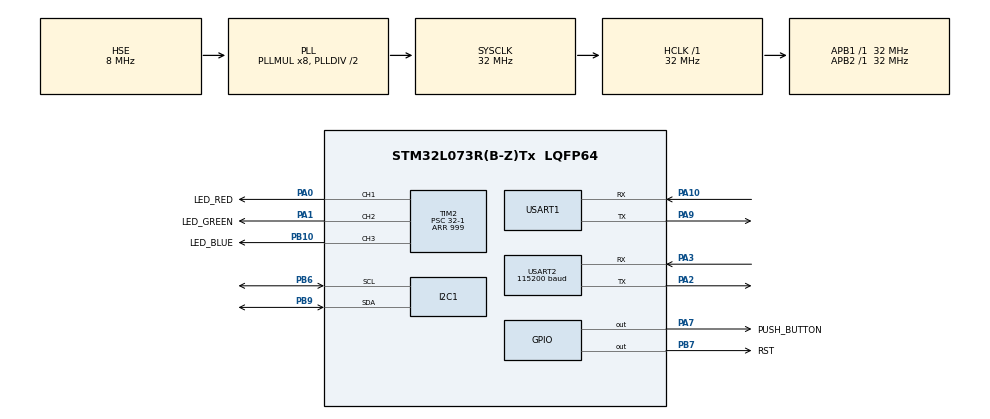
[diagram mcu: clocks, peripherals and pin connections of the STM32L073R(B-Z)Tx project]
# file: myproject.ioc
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I2C1.Timing=0x00B07CB4
Mcu.Family=STM32L0
Mcu.Name=STM32L073R(B-Z)Tx
Mcu.Package=LQFP64
NVIC.USART1_IRQn=true\:0\:0\:false\:false\:true\:true\:true\:true
PA0.GPIO_Label=LED_RED
PA0.Signal=S_TIM2_CH1
PA1.GPIO_Label=LED_GREEN
PA1.Signal=S_TIM2_CH2
PA10.Mode=Asynchronous
PA10.Signal=USART1_RX
PA13.Mode=Serial_Wire
PA13.Signal=SYS_SWDIO
PA14.Mode=Serial_Wire
PA14.Signal=SYS_SWCLK
PA2.Mode=Asynchronous
PA2.Signal=USART2_TX
PA3.Mode=Asynchronous
PA3.Signal=USART2_RX
PA7.GPIO_Label=PUSH_BUTTON
PA7.Signal=GPIO_Output
PA9.Mode=Asynchronous
PA9.Signal=USART1_TX
PB10.GPIO_Label=LED_BLUE
PB10.Signal=S_TIM2_CH3
PB6.Mode=I2C
PB6.Signal=I2C1_SCL
PB7.GPIO_Label=RST
PB7.Signal=GPIO_Output
PB9.Mode=I2C
PB9.Signal=I2C1_SDA
PH0-OSC_IN.Mode=HSE-External-Clock-Source
PH0-OSC_IN.Signal=RCC_OSC_IN
ProjectManager.HeapSize=0x200
ProjectManager.StackSize=0x400
ProjectManager.TargetToolchain=STM32CubeIDE
RCC.AHBFreq_Value=32000000
RCC.APB1Freq_Value=32000000
RCC.APB1TimFreq_Value=32000000
RCC.APB2Freq_Value=32000000
RCC.APB2TimFreq_Value=32000000
RCC.HCLKFreq_Value=32000000
RCC.HSE_VALUE=8000000
RCC.HSI16_VALUE=16000000
RCC.HSI48_VALUE=48000000
RCC.HSI_VALUE=16000000
RCC.LSE_VALUE=32768
RCC.MSI_VALUE=2097000
RCC.PLLMUL=RCC_PLLMUL_8
RCC.PLLSourceVirtual=RCC_PLLSOURCE_HSE
RCC.SYSCLKFreq_VALUE=32000000
RCC.SYSCLKSource=RCC_SYSCLKSOURCE_PLLCLK
RCC.VCOOutputFreq_Value=64000000
SH.S_TIM2_CH1.0=TIM2_CH1,PWM Generation1 CH1
SH.S_TIM2_CH2.0=TIM2_CH2,PWM Generation2 CH2
SH.S_TIM2_CH3.0=TIM2_CH3,PWM Generation3 CH3
TIM2.Channel-PWM\ Generation1\ CH1=TIM_CHANNEL_1
TIM2.Channel-PWM\ Generation2\ CH2=TIM_CHANNEL_2
TIM2.Channel-PWM\ Generation3\ CH3=TIM_CHANNEL_3
TIM2.Period=999
TIM2.Prescaler=32-1
TIM6.Period=65535-1
TIM6.Prescaler=32-1
USART1.VirtualMode-Asynchronous=VM_ASYNC
USART2.BaudRate=115200
USART2.VirtualMode-Asynchronous=VM_ASYNC
VP_TIM6_VS_ClockSourceINT.Mode=Enable_Timer
board=NUCLEO-L073RZ

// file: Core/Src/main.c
/* USER CODE BEGIN Header */
/**
  ******************************************************************************
  * @file           : main.c
  * @brief          : Main program body
  ******************************************************************************
  * @attention
  *
  * Copyright (c) 2026 STMicroelectronics.
  * All rights reserved.
  *
  * This software is licensed under terms that can be found in the LICENSE file
  * in the root directory of this software component.
  * If no LICENSE file comes with this software, it is provided AS-IS.
  *
  ******************************************************************************
  */
/* USER CODE END Header */
#include "main.h"
#include "i2c.h"
#include "tim.h"
#include "usart.h"
#include "gpio.h"

/* USER CODE BEGIN Includes */
#include <stdio.h>
#include "drivers/hw479.h"
#include "drivers/ds3231.h"
#include "drivers/ds18b20.h"
#include "drivers/lcd1602.h"
#include <stdbool.h>
#include <math.h>
#include <stdlib.h>
#include <string.h>
#include "utils.h"
/* USER CODE END Includes */

/* USER CODE BEGIN PD */
#define LCD_BACKLIGHT 0x08
#define UART_RX_LOG_SIZE 128U
#define UART_CMD_LINE_SIZE 64U
/* USER CODE END PD */

/* USER CODE BEGIN PV */
static uint8_t rx_byte;
static uint8_t rx_log[UART_RX_LOG_SIZE];
static char uart_cmd_line[UART_CMD_LINE_SIZE];
static uint16_t uart_cmd_pos = 0;
static volatile uint16_t rx_log_head = 0;
static volatile uint16_t rx_log_tail = 0;
static volatile uint32_t rx_byte_count = 0;
static volatile uint32_t rx_error_count = 0;
static volatile uint32_t rx_overflow_count = 0;
static int16_t min_temp = 100; // 18.0°C
static int16_t max_temp = 270; // 26.0°C

static lcd1602_t lcd =
{
    .i2c = &hi2c1,
    .addr = 0x27 << 1,
};

static hw479_t hw479 =
{
	.htim = &htim2,
	.red_ch = TIM_CHANNEL_1,
	.green_ch = TIM_CHANNEL_2,
	.blue_ch = TIM_CHANNEL_3,
};

static ds3231_t ds3231 =
{
	.i2c = &hi2c1,
	.addr = 0xd0,
};

//static ds18b20_t ds18b20 =
//{
//	.htim = &htim6,
//	.pin = DS18B20_Pin,
//	.port = DS18B20_GPIO_Port,
//};
/* USER CODE END PV */

void SystemClock_Config(void);
/* USER CODE BEGIN PFP */
static void log_uart_rx_byte(uint8_t byte);
static void process_uart_rx(void);
static void process_uart_rx_byte(uint8_t byte);
static void process_uart_command(const char *line);
static bool parse_temp_command(const char *line, const char *command, int16_t *temp);
/* USER CODE END PFP */

/* USER CODE BEGIN 0 */
static inline uint32_t TempToPWM(float x)
{
    const float slope = 10.0f;   // sensitivity (tune this)
    const uint32_t N = 0;
    const uint32_t M = 900;

    int32_t v = (int32_t)(x * slope) + N;

    if (v < (int32_t)N) v = N;
    if (v > (int32_t)M) v = M;

    return (uint32_t)v;
}

static void log_uart_rx_byte(uint8_t byte)
{
	uint16_t next_head = (uint16_t)(rx_log_head + 1U);

	if (next_head >= UART_RX_LOG_SIZE)
	{
		next_head = 0U;
	}

	if (next_head == rx_log_tail)
	{
		rx_overflow_count++;
		return;
	}

	rx_log[rx_log_head] = byte;
	rx_log_head = next_head;
}

static void process_uart_rx(void)
{
	static uint32_t printed_error_count = 0;
	static uint32_t printed_overflow_count = 0;

	while (rx_log_tail != rx_log_head)
	{
		uint8_t byte = rx_log[rx_log_tail];

		rx_log_tail = (uint16_t)(rx_log_tail + 1U);
		if (rx_log_tail >= UART_RX_LOG_SIZE)
		{
			rx_log_tail = 0U;
		}

		process_uart_rx_byte(byte);
	}

	if (printed_error_count != rx_error_count)
	{
		printed_error_count = rx_error_count;
		printf("[USART1] RX errors: %lu\r\n", rx_error_count);
	}

	if (printed_overflow_count != rx_overflow_count)
	{
		printed_overflow_count = rx_overflow_count;
		printf("[USART1] RX log overflows: %lu\r\n", rx_overflow_count);
	}
}

static void process_uart_rx_byte(uint8_t byte)
{
	if (byte == '\r' || byte == '\n')
	{
		if (uart_cmd_pos > 0U)
		{
			uart_cmd_line[uart_cmd_pos] = '\0';
			process_uart_command(uart_cmd_line);
			uart_cmd_pos = 0U;
		}

		return;
	}

	if (uart_cmd_pos < (UART_CMD_LINE_SIZE - 1U))
	{
		uart_cmd_line[uart_cmd_pos++] = (char)byte;
	}
	else
	{
		uart_cmd_pos = 0U;
		printf("[USART1] Command too long, dropping buffer\r\n");
	}
}

static void process_uart_command(const char *line)
{
	int16_t temp;

	printf("[USART1] Command: %s\r\n", line);

	if (parse_temp_command(line, "SET_MAX_TEMP", &temp))
	{
		max_temp = temp;
		printf("[USART1] SET_MAX_TEMP = %d (%d.%d C)\r\n",
				temp,
				temp / 10,
				abs(temp % 10));
	}
	else if (parse_temp_command(line, "SET_MIN_TEMP", &temp))
	{
		min_temp = temp;
		printf("[USART1] SET_MIN_TEMP = %d (%d.%d C)\r\n",
				temp,
				temp / 10,
				abs(temp % 10));
	}
	else
	{
		printf("[USART1] Unknown command\r\n");
	}
}

static bool parse_temp_command(const char *line, const char *command, int16_t *temp)
{
	const char *p = line;
	size_t command_len = strlen(command);
	uint32_t value = 0U;
	bool has_digit = false;

	while (*p == ' ' || *p == '\t')
	{
		p++;
	}

	if (strncmp(p, command, command_len) != 0)
	{
		return false;
	}

	p += command_len;

	if (*p != ' ' && *p != '\t')
	{
		return false;
	}

	while (*p == ' ' || *p == '\t')
	{
		p++;
	}

	while (*p >= '0' && *p <= '9')
	{
		has_digit = true;
		value = (value * 10U) + (uint32_t)(*p - '0');

		if (value > INT16_MAX)
		{
			return false;
		}

		p++;
	}

	while (*p == ' ' || *p == '\t')
	{
		p++;
	}

	if (!has_digit || *p != '\0')
	{
		return false;
	}

	*temp = (int16_t)value;
	return true;
}

void update(lcd1602_t *lcd, hw479_t *hw479, ds3231_t *ds3231) {
	ds3231_time_t t = ds3231_get_time(ds3231);
	lcd_1602_clear(lcd);

	lcd_1602_cur(lcd, 0, 0);
	lcd_1602_printf(lcd, "%02d:%02d %02d/%02d/20%02d", t.hour, t.minutes, t.dayofmonth, t.month, t.year);

	ds3231_force_temp_conv(ds3231);

	lcd_1602_cur (lcd, 1, 0);
	float temp = ds3231_get_temp(ds3231);
	int whole = (int)temp;
	int frac = (int)((temp - whole) * 10);
	lcd_1602_printf(lcd, "%d.%d C", whole, frac);

	int16_t tempInt = tempToFixed(temp);

	uint32_t v = TempToPWM(fabs(temp));

//	printf("Temperature = %d.%d C\r\n", whole, frac);
//	printf("Time = %02d:%02d %02d/%02d/20%02d\r\n", t.hour, t.minutes, t.dayofmonth, t.month, t.year);

	if (tempInt >= max_temp) {
		hw479_set_colors(hw479, 999, 0, 0);
	} else if (tempInt <= min_temp) {
		hw479_set_colors(hw479, 0, 0, 999);
	} else  {
		hw479_set_colors(hw479, 0, 0, 0);
	}
}
/* USER CODE END 0 */

int main(void)
{

  /* MCU Configuration--------------------------------------------------------*/

  /* Reset of all peripherals, Initializes the Flash interface and the Systick. */
  HAL_Init();

  /* Configure the system clock */
  SystemClock_Config();

  /* Initialize all configured peripherals */
  MX_GPIO_Init();
  MX_I2C1_Init();
  MX_TIM2_Init();
  MX_TIM6_Init();
  MX_USART1_UART_Init();
  MX_USART2_UART_Init();
  /* USER CODE BEGIN 2 */

  if (HAL_UART_Receive_IT(&huart1, &rx_byte, 1) != HAL_OK)
  {
      printf("USART1 RX IT start failed\r\n");
      Error_Handler();
  }
  else
  {
      printf("USART1 RX IT started\r\n");
  }

  lcd_1602_init(&lcd);
  lcd_1602_backlight_on(&lcd);
  lcd_1602_print(&lcd, "Initializing");

  hw479_init(&hw479);
//  ds18b20_init(&ds18b20);

  /* USER CODE END 2 */

  /* Infinite loop */
  /* USER CODE BEGIN WHILE */

  HAL_Delay(1000);

  printf("-------------------------\r\n");

  while (1)
  {
	process_uart_rx();
    update(&lcd, &hw479, &ds3231);
	process_uart_rx();
	HAL_Delay(750);
	process_uart_rx();

    /* USER CODE END WHILE */

  }
}

void SystemClock_Config(void)
{
  RCC_OscInitTypeDef RCC_OscInitStruct = {0};
  RCC_ClkInitTypeDef RCC_ClkInitStruct = {0};
  RCC_PeriphCLKInitTypeDef PeriphClkInit = {0};

  /** Configure the main internal regulator output voltage
  */
  __HAL_PWR_VOLTAGESCALING_CONFIG(PWR_REGULATOR_VOLTAGE_SCALE1);

  /** Initializes the RCC Oscillators according to the specified parameters
  * in the RCC_OscInitTypeDef structure.
  */
  RCC_OscInitStruct.OscillatorType = RCC_OSCILLATORTYPE_HSE;
  RCC_OscInitStruct.HSEState = RCC_HSE_BYPASS;
  RCC_OscInitStruct.PLL.PLLState = RCC_PLL_ON;
  RCC_OscInitStruct.PLL.PLLSource = RCC_PLLSOURCE_HSE;
  RCC_OscInitStruct.PLL.PLLMUL = RCC_PLLMUL_8;
  RCC_OscInitStruct.PLL.PLLDIV = RCC_PLLDIV_2;
  if (HAL_RCC_OscConfig(&RCC_OscInitStruct) != HAL_OK)
  {
    Error_Handler();
  }

  /** Initializes the CPU, AHB and APB buses clocks
  */
  RCC_ClkInitStruct.ClockType = RCC_CLOCKTYPE_HCLK|RCC_CLOCKTYPE_SYSCLK
                              |RCC_CLOCKTYPE_PCLK1|RCC_CLOCKTYPE_PCLK2;
  RCC_ClkInitStruct.SYSCLKSource = RCC_SYSCLKSOURCE_PLLCLK;
  RCC_ClkInitStruct.AHBCLKDivider = RCC_SYSCLK_DIV1;
  RCC_ClkInitStruct.APB1CLKDivider = RCC_HCLK_DIV1;
  RCC_ClkInitStruct.APB2CLKDivider = RCC_HCLK_DIV1;

  if (HAL_RCC_ClockConfig(&RCC_ClkInitStruct, FLASH_LATENCY_1) != HAL_OK)
  {
    Error_Handler();
  }
  PeriphClkInit.PeriphClockSelection = RCC_PERIPHCLK_USART1|RCC_PERIPHCLK_USART2
                              |RCC_PERIPHCLK_I2C1;
  PeriphClkInit.Usart1ClockSelection = RCC_USART1CLKSOURCE_PCLK2;
  PeriphClkInit.Usart2ClockSelection = RCC_USART2CLKSOURCE_PCLK1;
  PeriphClkInit.I2c1ClockSelection = RCC_I2C1CLKSOURCE_PCLK1;
  if (HAL_RCCEx_PeriphCLKConfig(&PeriphClkInit) != HAL_OK)
  {
    Error_Handler();
  }
}

/* USER CODE BEGIN 4 */

void HAL_UART_RxCpltCallback(UART_HandleTypeDef *huart)
{
	if (huart->Instance == USART1)
    {
		rx_byte_count++;
		log_uart_rx_byte(rx_byte);

        if (HAL_UART_Receive_IT(&huart1, &rx_byte, 1) != HAL_OK)
        {
        	rx_error_count++;
        }
    }
}
/* USER CODE END 4 */

void Error_Handler(void)
{
  __disable_irq();
  while (1)
  {
  }
}
